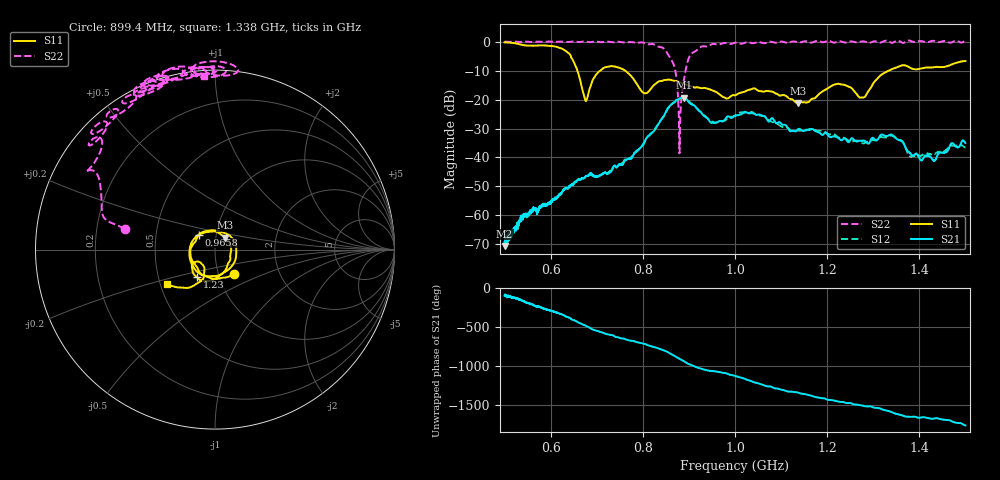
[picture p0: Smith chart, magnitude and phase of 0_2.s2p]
!Agilent Technologies,E8364B,US42250235,A.06.04.32
!Agilent E8364B: A.06.04.32
!Date: Thursday, October 01, 2020 15:31:54
!Correction: S11(Full 2 Port(1,2)) S21(Full 2 Port(1,2)) S12(Full 2 Port(1,2)) S22(Full 2 Port(1,2))
!S2P File: Measurements: S11, S21, S12, S22:
# Hz S  dB  R 50
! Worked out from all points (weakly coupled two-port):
!   2650 points, 500 MHz to 1.5 GHz, reference 50 ohm
!   highest |S21| = -19.38 dB at 889.2 MHz (marker M1); lowest = -70.6 dB at 500 MHz (marker M2)
!   lowest |S11| = -21.3 dB at 1.137 GHz (marker M3), VSWR 1.19, Z = 55.4 + j7.35 ohm
!   |S11| at or under -10 dB: 658 MHz to 707.3 MHz (49.28 MHz wide, 7.22 % of centre); 761.6 MHz to 1.333 GHz (571.7 MHz wide, 54.6 % of centre)
!   |S22| runs from -38.6 to 0.5 dB; largest |S21 - S12| = 0.0085
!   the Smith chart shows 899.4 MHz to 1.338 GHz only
!   S11 on the Smith chart (normalised r, x): 899.4 MHz: 1.19, -0.33; 965.8 MHz: 0.82, +0.14; 1.23 GHz: 0.78, -0.25; 1.338 GHz: 0.54, -0.23
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5e8  -0.18 -175.6  -70.64 -98.4  -70.21 -104.8  0.08 144.0
6.136278e8  -1.77 107.6  -53.79 42.1  -53.55 42.9  0.01 129.7
6.445829e8  -5.45 63.8  -49.45 -40.9  -49.47 -30.5  0.05 126.9
6.668554e8  -15.20 46.0  -47.28 -100.5  -47.26 -92.3  0.00 123.9
6.774254e8  -20.28 94.8  -46.35 -130.2  -46.50 -122.3  0.02 127.3
7.298981e8  -8.42 74.1  -44.94 118.3  -44.61 120.4  -0.09 118.1
7.925632e8  -16.05 -72.5  -37.01 16.9  -36.95 19.4  -0.27 104.1
8.337108e8  -13.78 95.8  -28.46 -55.4  -28.49 -53.6  -1.68 83.6
8.665534e8  -13.38 16.5  -21.17 -145.9  -21.06 -141.1  -7.73 40.1
8.797659e8  -13.91 -11.7  -19.67 171.1  -19.65 175.3  -38.36 -87.2
8.892035e8  -14.58 -30.8  -19.38 138.1  -19.24 142.5  -13.08 -173.2
8.99396e8  -15.23 -51.7  -20.82 102.4  -20.45 106.4  -5.74 166.9
9.658362e8  -18.13 137.7  -27.44 -0.8  -27.79 0.0  -0.93 133.9
1.000189e9  -18.50 -3.1  -25.48 -51.3  -25.59 -48.8  -0.31 125.8
1.137222e9  -21.27 49.7  -30.18 94.0  -30.72 93.7  -0.18 111.0
1.166667e9  -19.73 -36.3  -30.16 53.2  -30.20 53.1  -0.26 105.0
1.230464e9  -14.73 -123.5  -33.98 -26.0  -33.25 -31.6  0.13 99.3
1.277652e9  -19.28 -130.9  -34.19 -73.8  -35.14 -81.1  0.17 93.9
1.333522e9  -9.98 -140.4  -32.41 -142.7  -32.86 -151.5  0.19 97.1
1.33843e9  -9.62 -144.3  -32.07 -153.9  -32.48 -162.6  -0.26 93.7
1.404492e9  -9.22 174.5  -41.02 134.3  -39.36 129.6  0.25 84.0
1.5e9  -6.67 139.9  -34.99 31.3  -36.61 18.8  0.35 69.2
